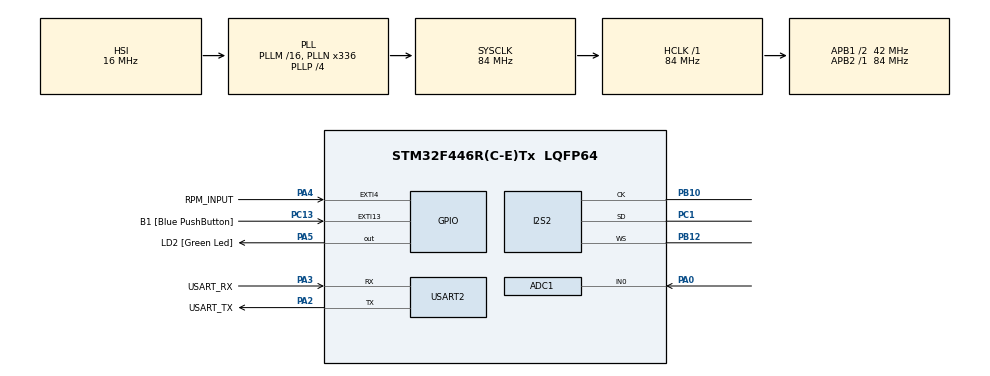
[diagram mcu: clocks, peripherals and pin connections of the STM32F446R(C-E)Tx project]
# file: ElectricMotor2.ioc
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ADC1.Channel-0\#ChannelRegularConversion=ADC_CHANNEL_0
ADC1.NbrOfConversionFlag=1
ADC1.Rank-0\#ChannelRegularConversion=1
ADC1.SamplingTime-0\#ChannelRegularConversion=ADC_SAMPLETIME_3CYCLES
ADC1.master=1
Dma.Request0=SPI2_TX
Dma.SPI2_TX.0.Direction=DMA_MEMORY_TO_PERIPH
Dma.SPI2_TX.0.FIFOMode=DMA_FIFOMODE_DISABLE
Dma.SPI2_TX.0.Instance=DMA1_Stream4
Dma.SPI2_TX.0.MemDataAlignment=DMA_MDATAALIGN_HALFWORD
Dma.SPI2_TX.0.MemInc=DMA_MINC_ENABLE
Dma.SPI2_TX.0.Mode=DMA_CIRCULAR
Dma.SPI2_TX.0.PeriphDataAlignment=DMA_PDATAALIGN_HALFWORD
Dma.SPI2_TX.0.PeriphInc=DMA_PINC_DISABLE
Dma.SPI2_TX.0.Priority=DMA_PRIORITY_VERY_HIGH
I2S2.AudioFreq=I2S_AUDIOFREQ_32K
I2S2.DataFormat=I2S_DATAFORMAT_16B
I2S2.ErrorAudioFreq=0.0 %
I2S2.FullDuplexMode=I2S_FULLDUPLEXMODE_DISABLE
I2S2.Instance=SPI$Index
I2S2.RealAudioFreq=32.0 KHz
I2S2.VirtualMode=I2S_MODE_MASTER
Mcu.Family=STM32F4
Mcu.Name=STM32F446R(C-E)Tx
Mcu.Package=LQFP64
NVIC.DMA1_Stream4_IRQn=true\:0\:0\:true\:false\:true\:false\:true\:true
NVIC.EXTI4_IRQn=true\:3\:0\:true\:false\:true\:true\:true\:true
NVIC.PriorityGroup=NVIC_PRIORITYGROUP_4
NVIC.SPI2_IRQn=true\:1\:0\:true\:false\:true\:true\:true\:true
NVIC.USART2_IRQn=true\:4\:0\:true\:false\:true\:true\:true\:true
PA0-WKUP.Signal=ADCx_IN0
PA13.GPIO_Label=TMS
PA13.Mode=Serial_Wire
PA13.Signal=SYS_JTMS-SWDIO
PA14.GPIO_Label=TCK
PA14.Mode=Serial_Wire
PA14.Signal=SYS_JTCK-SWCLK
PA2.GPIO_Label=USART_TX
PA2.Mode=Asynchronous
PA2.Signal=USART2_TX
PA3.GPIO_Label=USART_RX
PA3.Mode=Asynchronous
PA3.Signal=USART2_RX
PA4.GPIO_Label=RPM_INPUT
PA4.GPIO_PuPd=GPIO_PULLDOWN
PA4.Signal=GPXTI4
PA5.GPIO_Label=LD2 [Green Led]
PA5.Signal=GPIO_Output
PB10.Mode=Half_Duplex_Master
PB10.Signal=I2S2_CK
PB12.Mode=Half_Duplex_Master
PB12.Signal=I2S2_WS
PB3.GPIO_Label=SWO
PB3.Signal=SYS_JTDO-SWO
PC1.Mode=Half_Duplex_Master
PC1.Signal=I2S2_SD
PC13.GPIO_Label=B1 [Blue PushButton]
PC13.GPIO_ModeDefaultEXTI=GPIO_MODE_IT_FALLING
PC13.Signal=GPXTI13
PC14-OSC32_IN.Mode=LSE-External-Oscillator
PC14-OSC32_IN.Signal=RCC_OSC32_IN
PC15-OSC32_OUT.Mode=LSE-External-Oscillator
PC15-OSC32_OUT.Signal=RCC_OSC32_OUT
PH0-OSC_IN.Mode=HSE-External-Oscillator
PH0-OSC_IN.Signal=RCC_OSC_IN
PH1-OSC_OUT.Mode=HSE-External-Oscillator
PH1-OSC_OUT.Signal=RCC_OSC_OUT
ProjectManager.HeapSize=0x200
ProjectManager.StackSize=0x400
ProjectManager.TargetToolchain=STM32CubeIDE
RCC.48MHZClocksFreq_Value=84000000
RCC.AHBFreq_Value=84000000
RCC.APB1CLKDivider=RCC_HCLK_DIV2
RCC.APB1Freq_Value=42000000
RCC.APB1TimFreq_Value=84000000
RCC.APB2Freq_Value=84000000
RCC.APB2TimFreq_Value=84000000
RCC.CortexFreq_Value=84000000
RCC.FLatency-AdvancedSettings=FLASH_LATENCY_2
RCC.HCLKFreq_Value=84000000
RCC.HSE_VALUE=8000000
RCC.HSI_VALUE=16000000
RCC.PLLI2SM=8
RCC.PLLI2SR=3
RCC.PLLN=336
RCC.PLLP=RCC_PLLP_DIV4
RCC.SYSCLKFreq_VALUE=84000000
RCC.SYSCLKSource=RCC_SYSCLKSOURCE_PLLCLK
RCC.USBFreq_Value=168000000
RCC.VCOOutputFreq_Value=336000000
SH.ADCx_IN0.0=ADC1_IN0,IN0
USART2.VirtualMode=VM_ASYNC
board=NUCLEO-F446RE

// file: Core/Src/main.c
/* USER CODE BEGIN Header */
/**
  ******************************************************************************
  * @file           : main.c
  * @brief          : Main program body
  ******************************************************************************
  * @attention
  *
  * Copyright (c) 2026 STMicroelectronics.
  * All rights reserved.
  *
  * This software is licensed under terms that can be found in the LICENSE file
  * in the root directory of this software component.
  * If no LICENSE file comes with this software, it is provided AS-IS.
  *
  ******************************************************************************
  */
/* USER CODE END Header */
#include "main.h"

/* USER CODE BEGIN Includes */

#include <stdio.h>
#include <math.h>

/* USER CODE END Includes */

ADC_HandleTypeDef hadc1;

I2S_HandleTypeDef hi2s2;
DMA_HandleTypeDef hdma_spi2_tx;

UART_HandleTypeDef huart2;

/* USER CODE BEGIN PV */
volatile uint32_t pulse_count = 0;
float rpm_filtered = 0.0f;
uint32_t last_rpm_time_ms = 0;
uint32_t last_pulse_count = 0;
volatile float freq_out = 150.0f;   // Hz
volatile float vol_out  = 0.0f;     // 0..1
volatile float throttle_val = 0.0f; // 0.0 to 1.0 scale

// audio streaming code
// audio buffer varaibles, what the DMA will play
#define AUDIO_FS   32000.0f			   // sample rate
#define FRAMES     256                 // stereo frames (even)
int16_t i2s_tx[FRAMES * 2];            // interleaved L,R : the actual samples that the DMA sends out
volatile float phase = 0.0f;

volatile uint32_t i2s_half = 0, i2s_full = 0;
#define TWO_PI 6.283185307f

//adding variables for torque kick
float throttle_old = 0.0f;
float bite_factor = 0.0f; // This will track the "punch"

// --- THROTTLE CALIBRATION ---
// Sound starts at 1.0V
#define THROTTLE_START_SOUND_VOLTS  1.0f
// 100% sound is reached at 4.2V (gives headroom below 4.5V max)
#define THROTTLE_FULL_SOUND_VOLTS   4.2f

// Optional: Simple Moving Average Filter for smoother throttle
#define THROTTLE_FILTER_SAMPLES      10

/* USER CODE END PV */

void SystemClock_Config(void);
static void MX_GPIO_Init(void);
static void MX_DMA_Init(void);
static void MX_USART2_UART_Init(void);
static void MX_ADC1_Init(void);
static void MX_I2S2_Init(void);

/* USER CODE BEGIN 0 */

int _write(int file, char *ptr, int len)
{
  HAL_UART_Transmit(&huart2, (uint8_t*)ptr, len, HAL_MAX_DELAY);
  return len;
}

////the pitch being set by the RPM
static void FillAudioFrames(int startFrame, int frameCount)
{
  const float two_pi = 6.283185307f;
  float f_motor = (freq_out < 60.0f) ? 60.0f : freq_out;
  float base_vol = vol_out;
  float t_val = throttle_val;

  static float startup_timer = 0.0f;
  const float startup_duration = 4.0f;

  static float ph_pulse = 0.0f, ph_tone = 0.0f;
  static float ph1 = 0.0f, ph1_25 = 0.0f, ph_sub1 = 0.0f, ph_sub2 = 0.0f;

  for (int n = 0; n < frameCount; n++)
  {
    float x_motor = 0.0f;
    float final_x = 0.0f;

    // --- 1. GHOST GROWL MOTOR LOGIC ---
    ph1 += f_motor / AUDIO_FS; if (ph1 >= 1.0f) ph1 -= 1.0f;
    ph1_25 += (1.25f * f_motor) / AUDIO_FS; if (ph1_25 >= 1.0f) ph1_25 -= 1.0f;

    // Sub-Harmonic Saws at 0.5x (Keep 'em deep)
    ph_sub1 += (0.50f * f_motor) / AUDIO_FS; if (ph_sub1 >= 1.0f) ph_sub1 -= 1.0f;
    ph_sub2 += (0.50f * f_motor * 1.005f) / AUDIO_FS; if (ph_sub2 >= 1.0f) ph_sub2 -= 1.0f;

    // Clean Motor: This stays at full strength now
    float sine_mix = (sinf(two_pi * ph1) + sinf(two_pi * ph1_25) * 0.4f) * 0.7f;

    // The Raw Sawtooth
    float raw_saw_growl = ((ph_sub1 * 2.0f) - 1.0f + (ph_sub2 * 2.0f) - 1.0f) * 0.5f;

    // --- THE FIX: 15% CEILING & CUBED RAMP ---
    // Cubed mapping (t^3) makes the first half of the throttle pull nearly silent
    float saw_mix = (0.01f + (t_val * t_val * t_val)) * 0.15f;

    // No more fading the clean sound! We just add the saw on top.
    x_motor = sine_mix + (raw_saw_growl * saw_mix);

    // --- 2. OPTION 1: THE PULSAR SURGE (UNCHANGED) ---
    if (startup_timer < startup_duration)
    {
      startup_timer += 1.0f / AUDIO_FS;
      float progress = startup_timer / startup_duration;

      float pulse_rate = 2.0f + (48.0f * (progress * progress));
      ph_pulse += pulse_rate / AUDIO_FS; if (ph_pulse >= 1.0f) ph_pulse -= 1.0f;

      float env = powf(sinf(two_pi * ph_pulse * 0.5f + 1.5f), 12.0f);
      float tone_f = 60.0f - (10.0f * progress);
      ph_tone += tone_f / AUDIO_FS; if (ph_tone >= 1.0f) ph_tone -= 1.0f;

      float x_startup = (sinf(two_pi * ph_tone) + sinf(two_pi * ph_tone * 0.5f) * 0.6f) * env;
      final_x = (x_startup * (1.0f - progress)) + (x_motor * progress);
    }
    else { final_x = x_motor; }

    // --- 3. MASTER OUTPUT ---
    float active_vol = (base_vol < 0.45f) ? 0.45f : base_vol;
    int16_t sample = (int16_t)(final_x * active_vol * 32000.0f);

    int idx = (startFrame + n) * 2;
    i2s_tx[idx + 0] = sample; i2s_tx[idx + 1] = sample;
  }
}

//static void FillAudioFrames(int startFrame, int frameCount)
//{
//  static uint32_t counter = 0;
//
//  for (int n = 0; n < frameCount; n++)
//  {
//    counter++;
//
//    // Toggle every 40 samples (approx 400Hz beep)
//    // We use a safe volume of 8000
//    int16_t sample = ((counter / 40) % 2) ? 8000 : -8000;
//
//    int idx = (startFrame + n) * 2;
//    i2s_tx[idx + 0] = sample;
//    i2s_tx[idx + 1] = sample;
//  }
//}

/* USER CODE END 0 */

int main(void)
{

  /* MCU Configuration--------------------------------------------------------*/

  /* Reset of all peripherals, Initializes the Flash interface and the Systick. */
  HAL_Init();

  /* Configure the system clock */
  SystemClock_Config();

  /* Initialize all configured peripherals */
  MX_GPIO_Init();
  MX_DMA_Init();
  MX_USART2_UART_Init();
  MX_ADC1_Init();
  MX_I2S2_Init();
  /* USER CODE BEGIN 2 */

  // starting the DMA
//  FillAudioFrames(0, FRAMES);
//
//
//  HAL_I2S_Transmit_DMA(&hi2s2, (uint16_t*)i2s_tx, FRAMES * 2);			// start streaming this bugger out of I2S2 forever using DMA

  // 1. Clear the buffer
    for(int i=0; i<FRAMES*2; i++) { i2s_tx[i] = 0; }

    // 2. Initial fill
    FillAudioFrames(0, FRAMES);

    // 3. Wait for power to stabilize
    HAL_Delay(500);

    // 4. Start the DMA
    HAL_I2S_Transmit_DMA(&hi2s2, (uint16_t*)i2s_tx, FRAMES * 2);

  /* USER CODE END 2 */

  /* Infinite loop */
  /* USER CODE BEGIN WHILE */
  while (1)
  {
	  float throttle_voltage = 0.0f;

	  // 1. THE AUTO-RESTART WATCHDOG (Keep this as is)
	      if (__HAL_I2S_GET_FLAG(&hi2s2, I2S_FLAG_OVR))
	      {
	          __HAL_I2S_CLEAR_OVRFLAG(&hi2s2);
	          HAL_I2S_DMAStop(&hi2s2);
	          HAL_I2S_Transmit_DMA(&hi2s2, (uint16_t*)i2s_tx, FRAMES * 2);
	      }

	      // 2. READ & CALIBRATE THROTTLE
	      HAL_ADC_Start(&hadc1);
	      if (HAL_ADC_PollForConversion(&hadc1, 10) == HAL_OK)
	      {
	          uint32_t adc_raw = HAL_ADC_GetValue(&hadc1);

	          // --- CALIBRATION STEP ---
	          // Convert ADC (0-4095) to Voltage (0-3.3V)
	          throttle_voltage = ((float)adc_raw / 4095.0f) * 3.3f;

	          // Map 1.0V -> 0% and 3.0V+ -> 100%
	          // (Note: Using 3.0V as the target since 4.5V from the bike
	          // will be clamped to ~3.9V by our diode, and we want 100% to be easy to hit)
	          float target_throttle = 0.0f;

	          if (throttle_voltage <= 1.0f) {
	              target_throttle = 0.0f; // Deadzone: Still at 1V
	          }
	          else if (throttle_voltage >= 3.0f) {
	              target_throttle = 1.0f; // Ceiling: Full sound at 3V (safely below the 3.9V clamp)
	          }
	          else {
	              // Math: Scale the 1.0V to 3.0V range into 0.0 to 1.0
	              target_throttle = (throttle_voltage - 1.0f) / (3.0f - 1.0f);
	          }

	          // Constrain to 0.0 - 1.0 range
	          if (target_throttle > 1.0f) target_throttle = 1.0f;
	          if (target_throttle < 0.0f) target_throttle = 0.0f;

	          // --- BITE & SMOOTHING (Your existing logic) ---
	          float throttle_diff = target_throttle - throttle_old;
	          if (throttle_diff > 0) {
	              bite_factor += throttle_diff * 2.5f;
	          }
	          throttle_old = target_throttle;
	          bite_factor *= 0.95f;
	          if (bite_factor > 0.5f) bite_factor = 0.5f;

	          // Smooth the final throttle_val (Moving toward the calibrated target)
	          throttle_val = (0.9f * throttle_val) + (0.1f * target_throttle);

	          vol_out = 0.15f + (throttle_val * 0.45f) + bite_factor;
	          if (vol_out > 0.9f) vol_out = 0.9f;
	      }
	      HAL_ADC_Stop(&hadc1);

	        // 3. BIKE RPM & PITCH CALCULATION (Every 20ms)
	        uint32_t now = HAL_GetTick();
	        if (now - last_rpm_time_ms >= 20)
	        {
	        	// --- UPDATED PITCH LOGIC ---
	        	// 0 RPM = 60Hz, 650 RPM = 220Hz
	        	last_rpm_time_ms = now;

	        	uint32_t current = pulse_count;
	        	float delta = (float)(current - last_pulse_count);
	        	last_pulse_count = current;

	        	float rpm_actual = (delta * 3000.0f) / 32.0f;
	        	rpm_filtered = (0.92f * rpm_filtered) + (0.08f * rpm_actual);

	        	// Updated formula: 60Hz base + (rpm * 0.24615)
	        	freq_out = 60.0f + (rpm_filtered * 0.24615f);

	        	// Safety Cap
	        	if (freq_out > 500.0f) freq_out = 500.0f;

	        	// The Serial Monitor will now show a steady Freq even when you twist the grip
	        	printf("V_raw: %d | RPM: %d | Freq: %dHz | Thr: %d%%\r\n",
	        	       (int)(throttle_voltage * 100), (int)rpm_filtered, (int)freq_out, (int)(throttle_val * 100));
	        }
	            HAL_Delay(1); // tiny delay so UART isn't spammed

    /* USER CODE END WHILE */

  }
}

void SystemClock_Config(void)
{
  RCC_OscInitTypeDef RCC_OscInitStruct = {0};
  RCC_ClkInitTypeDef RCC_ClkInitStruct = {0};

  /** Configure the main internal regulator output voltage
  */
  __HAL_RCC_PWR_CLK_ENABLE();
  __HAL_PWR_VOLTAGESCALING_CONFIG(PWR_REGULATOR_VOLTAGE_SCALE3);

  /** Initializes the RCC Oscillators according to the specified parameters
  * in the RCC_OscInitTypeDef structure.
  */
  RCC_OscInitStruct.OscillatorType = RCC_OSCILLATORTYPE_HSI;
  RCC_OscInitStruct.HSIState = RCC_HSI_ON;
  RCC_OscInitStruct.HSICalibrationValue = RCC_HSICALIBRATION_DEFAULT;
  RCC_OscInitStruct.PLL.PLLState = RCC_PLL_ON;
  RCC_OscInitStruct.PLL.PLLSource = RCC_PLLSOURCE_HSI;
  RCC_OscInitStruct.PLL.PLLM = 16;
  RCC_OscInitStruct.PLL.PLLN = 336;
  RCC_OscInitStruct.PLL.PLLP = RCC_PLLP_DIV4;
  RCC_OscInitStruct.PLL.PLLQ = 2;
  RCC_OscInitStruct.PLL.PLLR = 2;
  if (HAL_RCC_OscConfig(&RCC_OscInitStruct) != HAL_OK)
  {
    Error_Handler();
  }

  /** Initializes the CPU, AHB and APB buses clocks
  */
  RCC_ClkInitStruct.ClockType = RCC_CLOCKTYPE_HCLK|RCC_CLOCKTYPE_SYSCLK
                              |RCC_CLOCKTYPE_PCLK1|RCC_CLOCKTYPE_PCLK2;
  RCC_ClkInitStruct.SYSCLKSource = RCC_SYSCLKSOURCE_PLLCLK;
  RCC_ClkInitStruct.AHBCLKDivider = RCC_SYSCLK_DIV1;
  RCC_ClkInitStruct.APB1CLKDivider = RCC_HCLK_DIV2;
  RCC_ClkInitStruct.APB2CLKDivider = RCC_HCLK_DIV1;

  if (HAL_RCC_ClockConfig(&RCC_ClkInitStruct, FLASH_LATENCY_2) != HAL_OK)
  {
    Error_Handler();
  }
}

static void MX_ADC1_Init(void)
{

  ADC_ChannelConfTypeDef sConfig = {0};

  /** Configure the global features of the ADC (Clock, Resolution, Data Alignment and number of conversion)
  */
  hadc1.Instance = ADC1;
  hadc1.Init.ClockPrescaler = ADC_CLOCK_SYNC_PCLK_DIV4;
  hadc1.Init.Resolution = ADC_RESOLUTION_12B;
  hadc1.Init.ScanConvMode = DISABLE;
  hadc1.Init.ContinuousConvMode = DISABLE;
  hadc1.Init.DiscontinuousConvMode = DISABLE;
  hadc1.Init.ExternalTrigConvEdge = ADC_EXTERNALTRIGCONVEDGE_NONE;
  hadc1.Init.ExternalTrigConv = ADC_SOFTWARE_START;
  hadc1.Init.DataAlign = ADC_DATAALIGN_RIGHT;
  hadc1.Init.NbrOfConversion = 1;
  hadc1.Init.DMAContinuousRequests = DISABLE;
  hadc1.Init.EOCSelection = ADC_EOC_SINGLE_CONV;
  if (HAL_ADC_Init(&hadc1) != HAL_OK)
  {
    Error_Handler();
  }

  /** Configure for the selected ADC regular channel its corresponding rank in the sequencer and its sample time.
  */
  sConfig.Channel = ADC_CHANNEL_0;
  sConfig.Rank = 1;
  sConfig.SamplingTime = ADC_SAMPLETIME_3CYCLES;
  if (HAL_ADC_ConfigChannel(&hadc1, &sConfig) != HAL_OK)
  {
    Error_Handler();
  }

}

static void MX_I2S2_Init(void)
{

  hi2s2.Instance = SPI2;
  hi2s2.Init.Mode = I2S_MODE_MASTER_TX;
  hi2s2.Init.Standard = I2S_STANDARD_PHILIPS;
  hi2s2.Init.DataFormat = I2S_DATAFORMAT_16B;
  hi2s2.Init.MCLKOutput = I2S_MCLKOUTPUT_DISABLE;
  hi2s2.Init.AudioFreq = I2S_AUDIOFREQ_32K;
  hi2s2.Init.CPOL = I2S_CPOL_LOW;
  hi2s2.Init.ClockSource = I2S_CLOCK_PLL;
  hi2s2.Init.FullDuplexMode = I2S_FULLDUPLEXMODE_DISABLE;
  if (HAL_I2S_Init(&hi2s2) != HAL_OK)
  {
    Error_Handler();
  }

}

static void MX_USART2_UART_Init(void)
{

  huart2.Instance = USART2;
  huart2.Init.BaudRate = 115200;
  huart2.Init.WordLength = UART_WORDLENGTH_8B;
  huart2.Init.StopBits = UART_STOPBITS_1;
  huart2.Init.Parity = UART_PARITY_NONE;
  huart2.Init.Mode = UART_MODE_TX_RX;
  huart2.Init.HwFlowCtl = UART_HWCONTROL_NONE;
  huart2.Init.OverSampling = UART_OVERSAMPLING_16;
  if (HAL_UART_Init(&huart2) != HAL_OK)
  {
    Error_Handler();
  }

}

static void MX_DMA_Init(void)
{

  /* DMA controller clock enable */
  __HAL_RCC_DMA1_CLK_ENABLE();

  /* DMA interrupt init */
  /* DMA1_Stream4_IRQn interrupt configuration */
  HAL_NVIC_SetPriority(DMA1_Stream4_IRQn, 0, 0);
  HAL_NVIC_EnableIRQ(DMA1_Stream4_IRQn);

}

static void MX_GPIO_Init(void)
{
  GPIO_InitTypeDef GPIO_InitStruct = {0};

  /* GPIO Ports Clock Enable */
  __HAL_RCC_GPIOC_CLK_ENABLE();
  __HAL_RCC_GPIOH_CLK_ENABLE();
  __HAL_RCC_GPIOA_CLK_ENABLE();
  __HAL_RCC_GPIOB_CLK_ENABLE();

  /*Configure GPIO pin Output Level */
  HAL_GPIO_WritePin(LD2_GPIO_Port, LD2_Pin, GPIO_PIN_RESET);

  /*Configure GPIO pin : B1_Pin */
  GPIO_InitStruct.Pin = B1_Pin;
  GPIO_InitStruct.Mode = GPIO_MODE_IT_FALLING;
  GPIO_InitStruct.Pull = GPIO_NOPULL;
  HAL_GPIO_Init(B1_GPIO_Port, &GPIO_InitStruct);

  /*Configure GPIO pin : RPM_INPUT_Pin */
  GPIO_InitStruct.Pin = RPM_INPUT_Pin;
  GPIO_InitStruct.Mode = GPIO_MODE_IT_RISING;
  GPIO_InitStruct.Pull = GPIO_PULLDOWN;
  HAL_GPIO_Init(RPM_INPUT_GPIO_Port, &GPIO_InitStruct);

  /*Configure GPIO pin : LD2_Pin */
  GPIO_InitStruct.Pin = LD2_Pin;
  GPIO_InitStruct.Mode = GPIO_MODE_OUTPUT_PP;
  GPIO_InitStruct.Pull = GPIO_NOPULL;
  GPIO_InitStruct.Speed = GPIO_SPEED_FREQ_LOW;
  HAL_GPIO_Init(LD2_GPIO_Port, &GPIO_InitStruct);

  /* EXTI interrupt init*/
  HAL_NVIC_SetPriority(EXTI4_IRQn, 3, 0);
  HAL_NVIC_EnableIRQ(EXTI4_IRQn);

}

/* USER CODE BEGIN 4 */

void HAL_GPIO_EXTI_Callback(uint16_t GPIO_Pin) 	//Every time PA4 goes from low to high, generate an interrupt
{
  if (GPIO_Pin == RPM_INPUT_Pin)
  {
    pulse_count++;
  }
}

//DMA callbacks, keeping audio continuous
void HAL_I2S_TxHalfCpltCallback(I2S_HandleTypeDef *hi2s)
{
  if (hi2s->Instance == SPI2) {
    i2s_half++;
    FillAudioFrames(0, FRAMES/2);
  }
}

void HAL_I2S_TxCpltCallback(I2S_HandleTypeDef *hi2s)
{
  if (hi2s->Instance == SPI2) {
    i2s_full++;
    FillAudioFrames(FRAMES/2, FRAMES/2);
  }
}

/* USER CODE END 4 */

void Error_Handler(void)
{
  __disable_irq();
  while (1)
  {
  }
}
